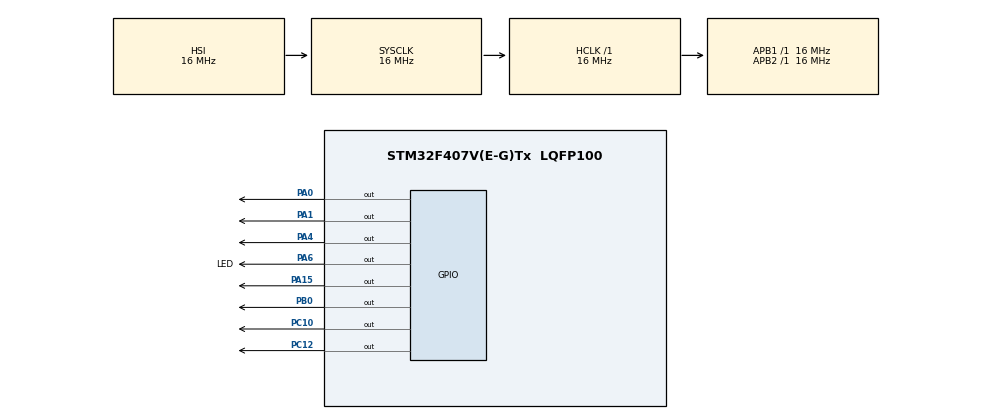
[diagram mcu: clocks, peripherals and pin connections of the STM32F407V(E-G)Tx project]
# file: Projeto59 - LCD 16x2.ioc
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Mcu.Family=STM32F4
Mcu.Name=STM32F407V(E-G)Tx
Mcu.Package=LQFP100
NVIC.PriorityGroup=NVIC_PRIORITYGROUP_4
PA0-WKUP.Signal=GPIO_Output
PA1.Signal=GPIO_Output
PA15.Signal=GPIO_Output
PA4.Signal=GPIO_Output
PA6.GPIO_Label=LED
PA6.Signal=GPIO_Output
PB0.Signal=GPIO_Output
PC10.Signal=GPIO_Output
PC12.Signal=GPIO_Output
ProjectManager.HeapSize=0x200
ProjectManager.StackSize=0x400
ProjectManager.TargetToolchain=STM32CubeIDE
RCC.AHBFreq_Value=16000000
RCC.APB1Freq_Value=16000000
RCC.APB2Freq_Value=16000000
RCC.CortexFreq_Value=16000000
RCC.HSE_VALUE=25000000
RCC.HSI_VALUE=16000000
RCC.LSE_VALUE=32768
RCC.SYSCLKFreq_VALUE=16000000
RCC.VCOOutputFreq_Value=192000000
TIM1.Period=65535-1
TIM1.Prescaler=16-1
VP_TIM1_VS_ClockSourceINT.Mode=Internal
board=custom

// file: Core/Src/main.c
/* USER CODE BEGIN Header */
/**
  ******************************************************************************
  * @file           : main.c
  * @brief          : Main program body
  ******************************************************************************
  * @attention
  *
  * Copyright (c) 2023 STMicroelectronics.
  * All rights reserved.
  *
  * This software is licensed under terms that can be found in the LICENSE file
  * in the root directory of this software component.
  * If no LICENSE file comes with this software, it is provided AS-IS.
  *
  ******************************************************************************
  */
/* USER CODE END Header */
#include "main.h"

/* USER CODE BEGIN Includes */

#include "string.h"
#include "stdio.h"
#include "LCD1602.h"

/* USER CODE END Includes */

 TIM_HandleTypeDef htim1;

/* USER CODE BEGIN PV */

uint32_t contagem;
uint8_t dadosBuf[12];

/* USER CODE END PV */

void SystemClock_Config(void);
static void MX_GPIO_Init(void);
static void MX_TIM1_Init(void);
/* USER CODE BEGIN PFP */

void delay_us(uint16_t us)
{
	__HAL_TIM_SET_COUNTER(&htim1, 0);
	while(__HAL_TIM_GET_COUNTER(&htim1) > us);
}

/* USER CODE END PFP */

int main(void)
{

  /* MCU Configuration--------------------------------------------------------*/

  /* Reset of all peripherals, Initializes the Flash interface and the Systick. */
  HAL_Init();

  /* Configure the system clock */
  SystemClock_Config();

  /* Initialize all configured peripherals */
  MX_GPIO_Init();
  MX_TIM1_Init();
  /* USER CODE BEGIN 2 */

  lcd_init();
  lcd_put_cur(0, 0);
  lcd_send_string("Curso ");
  lcd_send_string("STM32 ");
  lcd_send_string("PRO");

  lcd_put_cur(1, 0);
  lcd_send_string("Prof. Gabriel ");
  HAL_Delay(3000);

  lcd_clear();

  /* USER CODE END 2 */

  /* Infinite loop */
  while (1)
  {

    /* USER CODE BEGIN 3 */

	  HAL_GPIO_TogglePin(LED_GPIO_Port, LED_Pin);
	  HAL_Delay(500);

	  contagem++;

	  sprintf((char *) dadosBuf, "%04d", (int) contagem);
	  lcd_put_cur(0, 0);
	  lcd_send_string("Cont.: ");
	  lcd_put_cur(0, 6);
	  lcd_send_string((char *) dadosBuf);
  }
  /* USER CODE END 3 */
}

void SystemClock_Config(void)
{
  RCC_OscInitTypeDef RCC_OscInitStruct = {0};
  RCC_ClkInitTypeDef RCC_ClkInitStruct = {0};

  /** Configure the main internal regulator output voltage
  */
  __HAL_RCC_PWR_CLK_ENABLE();
  __HAL_PWR_VOLTAGESCALING_CONFIG(PWR_REGULATOR_VOLTAGE_SCALE1);

  /** Initializes the RCC Oscillators according to the specified parameters
  * in the RCC_OscInitTypeDef structure.
  */
  RCC_OscInitStruct.OscillatorType = RCC_OSCILLATORTYPE_HSI;
  RCC_OscInitStruct.HSIState = RCC_HSI_ON;
  RCC_OscInitStruct.HSICalibrationValue = RCC_HSICALIBRATION_DEFAULT;
  RCC_OscInitStruct.PLL.PLLState = RCC_PLL_NONE;
  if (HAL_RCC_OscConfig(&RCC_OscInitStruct) != HAL_OK)
  {
    Error_Handler();
  }

  /** Initializes the CPU, AHB and APB buses clocks
  */
  RCC_ClkInitStruct.ClockType = RCC_CLOCKTYPE_HCLK|RCC_CLOCKTYPE_SYSCLK
                              |RCC_CLOCKTYPE_PCLK1|RCC_CLOCKTYPE_PCLK2;
  RCC_ClkInitStruct.SYSCLKSource = RCC_SYSCLKSOURCE_HSI;
  RCC_ClkInitStruct.AHBCLKDivider = RCC_SYSCLK_DIV1;
  RCC_ClkInitStruct.APB1CLKDivider = RCC_HCLK_DIV1;
  RCC_ClkInitStruct.APB2CLKDivider = RCC_HCLK_DIV1;

  if (HAL_RCC_ClockConfig(&RCC_ClkInitStruct, FLASH_LATENCY_0) != HAL_OK)
  {
    Error_Handler();
  }
}

static void MX_TIM1_Init(void)
{

  TIM_ClockConfigTypeDef sClockSourceConfig = {0};
  TIM_MasterConfigTypeDef sMasterConfig = {0};

  htim1.Instance = TIM1;
  htim1.Init.Prescaler = 16-1;
  htim1.Init.CounterMode = TIM_COUNTERMODE_UP;
  htim1.Init.Period = 65535-1;
  htim1.Init.ClockDivision = TIM_CLOCKDIVISION_DIV1;
  htim1.Init.RepetitionCounter = 0;
  htim1.Init.AutoReloadPreload = TIM_AUTORELOAD_PRELOAD_DISABLE;
  if (HAL_TIM_Base_Init(&htim1) != HAL_OK)
  {
    Error_Handler();
  }
  sClockSourceConfig.ClockSource = TIM_CLOCKSOURCE_INTERNAL;
  if (HAL_TIM_ConfigClockSource(&htim1, &sClockSourceConfig) != HAL_OK)
  {
    Error_Handler();
  }
  sMasterConfig.MasterOutputTrigger = TIM_TRGO_RESET;
  sMasterConfig.MasterSlaveMode = TIM_MASTERSLAVEMODE_DISABLE;
  if (HAL_TIMEx_MasterConfigSynchronization(&htim1, &sMasterConfig) != HAL_OK)
  {
    Error_Handler();
  }

}

static void MX_GPIO_Init(void)
{
  GPIO_InitTypeDef GPIO_InitStruct = {0};

  /* GPIO Ports Clock Enable */
  __HAL_RCC_GPIOA_CLK_ENABLE();
  __HAL_RCC_GPIOB_CLK_ENABLE();
  __HAL_RCC_GPIOC_CLK_ENABLE();

  /*Configure GPIO pin Output Level */
  HAL_GPIO_WritePin(GPIOA, GPIO_PIN_0|GPIO_PIN_1|GPIO_PIN_4|LED_Pin
                          |GPIO_PIN_15, GPIO_PIN_RESET);

  /*Configure GPIO pin Output Level */
  HAL_GPIO_WritePin(GPIOB, GPIO_PIN_0, GPIO_PIN_RESET);

  /*Configure GPIO pin Output Level */
  HAL_GPIO_WritePin(GPIOC, GPIO_PIN_10|GPIO_PIN_12, GPIO_PIN_RESET);

  /*Configure GPIO pins : PA0 PA1 PA4 LED_Pin
                           PA15 */
  GPIO_InitStruct.Pin = GPIO_PIN_0|GPIO_PIN_1|GPIO_PIN_4|LED_Pin
                          |GPIO_PIN_15;
  GPIO_InitStruct.Mode = GPIO_MODE_OUTPUT_PP;
  GPIO_InitStruct.Pull = GPIO_NOPULL;
  GPIO_InitStruct.Speed = GPIO_SPEED_FREQ_LOW;
  HAL_GPIO_Init(GPIOA, &GPIO_InitStruct);

  /*Configure GPIO pin : PB0 */
  GPIO_InitStruct.Pin = GPIO_PIN_0;
  GPIO_InitStruct.Mode = GPIO_MODE_OUTPUT_PP;
  GPIO_InitStruct.Pull = GPIO_NOPULL;
  GPIO_InitStruct.Speed = GPIO_SPEED_FREQ_LOW;
  HAL_GPIO_Init(GPIOB, &GPIO_InitStruct);

  /*Configure GPIO pins : PC10 PC12 */
  GPIO_InitStruct.Pin = GPIO_PIN_10|GPIO_PIN_12;
  GPIO_InitStruct.Mode = GPIO_MODE_OUTPUT_PP;
  GPIO_InitStruct.Pull = GPIO_NOPULL;
  GPIO_InitStruct.Speed = GPIO_SPEED_FREQ_LOW;
  HAL_GPIO_Init(GPIOC, &GPIO_InitStruct);

}

void Error_Handler(void)
{
  __disable_irq();
  while (1)
  {
  }
}
